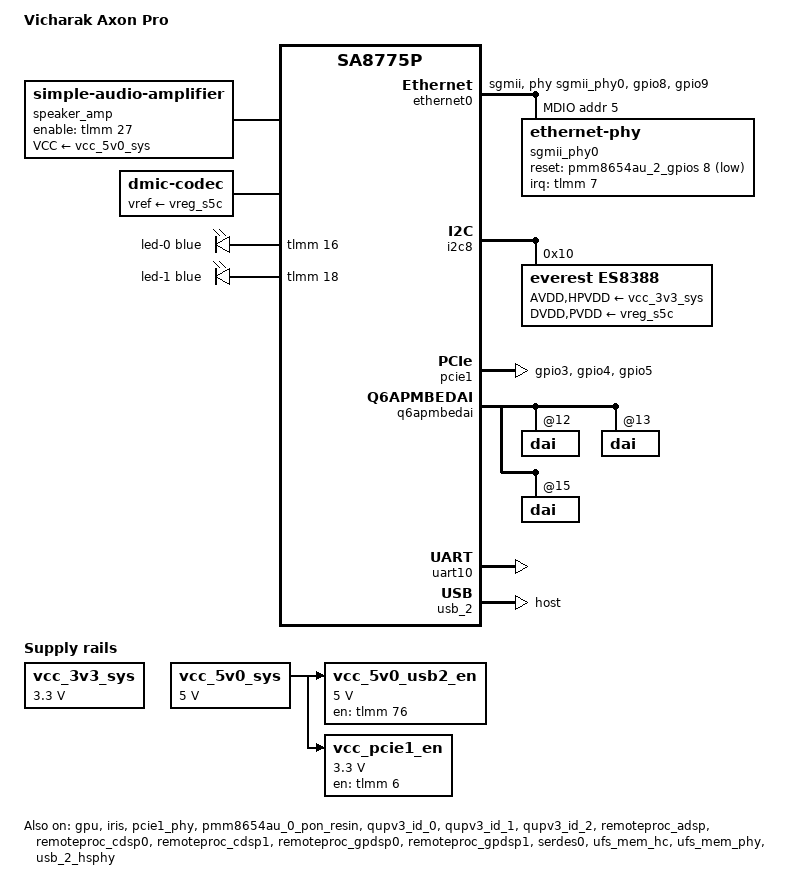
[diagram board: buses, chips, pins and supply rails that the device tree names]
// SPDX-License-Identifier: BSD-3-Clause
/*
 * Copyright (c) 2026 Vicharak Computers Pvt. Ltd.
 */

/dts-v1/;

#include <dt-bindings/gpio/gpio.h>
#include <dt-bindings/interrupt-controller/irq.h>
#include <dt-bindings/leds/common.h>
#include <dt-bindings/regulator/qcom,rpmh-regulator.h>
#include <dt-bindings/sound/qcom,q6afe.h>

#include "lemans.dtsi"
#include "lemans-pmics.dtsi"

/ {
	model = "Vicharak Axon Pro";
	compatible = "vicharak,axon-pro", "qcom,qcs9100", "qcom,sa8775p";

	aliases {
		serial0 = &uart10;
	};

	chosen {
		stdout-path = "serial0:115200n8";
	};

	speaker_amp: audio-amplifier {
		compatible = "simple-audio-amplifier";
		enable-gpios = <&tlmm 27 GPIO_ACTIVE_HIGH>;
		VCC-supply = <&vcc_5v0_sys>;
		sound-name-prefix = "Speaker Amp";
	};

	dmic: audio-codec-0 {
		compatible = "dmic-codec";
		#sound-dai-cells = <0>;
		num-channels = <2>;
		vref-supply = <&vreg_s5c>;
	};

	leds {
		compatible = "gpio-leds";

		pinctrl-0 = <&user_leds>;
		pinctrl-names = "default";

		led-0 {
			color = <LED_COLOR_ID_BLUE>;
			function = LED_FUNCTION_STATUS;
			gpios = <&tlmm 16 GPIO_ACTIVE_HIGH>;
			linux,default-trigger = "heartbeat";
			default-state = "keep";
			retain-state-suspended;
		};

		led-1 {
			color = <LED_COLOR_ID_BLUE>;
			function = LED_FUNCTION_INDICATOR;
			gpios = <&tlmm 18 GPIO_ACTIVE_HIGH>;
			default-state = "on";
			panic-indicator;
			retain-state-suspended;
		};
	};

	vcc_3v3_sys: regulator-vcc-3v3-sys {
		compatible = "regulator-fixed";
		regulator-name = "vcc_3v3_sys";
		regulator-min-microvolt = <3300000>;
		regulator-max-microvolt = <3300000>;
	};

	vcc_5v0_sys: regulator-vcc-5v-sys {
		compatible = "regulator-fixed";
		regulator-name = "vcc_5v0_sys";
		regulator-min-microvolt = <5000000>;
		regulator-max-microvolt = <5000000>;
	};

	regulator-vcc-5v0-usb2-en {
		compatible = "regulator-fixed";
		regulator-name = "vcc_5v0_usb2_en";
		regulator-min-microvolt = <5000000>;
		regulator-max-microvolt = <5000000>;

		vin-supply = <&vcc_5v0_sys>;

		gpio = <&tlmm 76 GPIO_ACTIVE_HIGH>;
		enable-active-high;

		pinctrl-0 = <&usb2_en>;
		pinctrl-names = "default";

		/* USB-A host VBUS has no software-controlled connector driver. */
		regulator-always-on;
	};

	vcc_pcie1_en: regulator-vcc-pcie1-en {
		compatible = "regulator-fixed";
		regulator-name = "vcc_pcie1_en";
		regulator-min-microvolt = <3300000>;
		regulator-max-microvolt = <3300000>;

		vin-supply = <&vcc_5v0_sys>;

		gpio = <&tlmm 6 GPIO_ACTIVE_HIGH>;
		enable-active-high;

		pinctrl-0 = <&pcie1_en>;
		pinctrl-names = "default";
	};

	sound {
		compatible = "qcom,qcs9100-sndcard";
		model = "LEMANS-AXON-PRO";
		aux-devs = <&speaker_amp>;
		audio-routing = "Speaker Amp INL", "LOUT2",
				"Speaker Amp INR", "ROUT2";

		pinctrl-0 = <&hs1_mi2s_active>, <&mi2s_mclk1_active>, <&hs2_mi2s_active>;
		pinctrl-names = "default";

		hs1-mi2s-capture-dai-link {
			link-name = "HS1 MI2S Capture";

			codec {
				sound-dai = <&es8388>;
			};

			cpu {
				sound-dai = <&q6apmbedai SECONDARY_MI2S_TX>;
			};

			platform {
				sound-dai = <&q6apm>;
			};
		};

		hs1-mi2s-playback-dai-link {
			link-name = "HS1 MI2S Playback";

			codec {
				sound-dai = <&es8388>;
			};

			cpu {
				sound-dai = <&q6apmbedai SECONDARY_MI2S_RX>;
			};

			platform {
				sound-dai = <&q6apm>;
			};
		};

		hs2-mi2s-capture-dai-link {
			link-name = "HS2 MI2S Capture";

			codec {
				sound-dai = <&dmic>;
			};

			cpu {
				sound-dai = <&q6apmbedai TERTIARY_MI2S_TX>;
			};

			platform {
				sound-dai = <&q6apm>;
			};
		};
	};
};

&apps_rsc {
	regulators-0 {
		compatible = "qcom,pmm8654au-rpmh-regulators";
		qcom,pmic-id = "a";

		vreg_l4a: ldo4 {
			regulator-name = "vreg_l4a";
			regulator-min-microvolt = <788000>;
			regulator-max-microvolt = <1050000>;
			regulator-initial-mode = <RPMH_REGULATOR_MODE_HPM>;
			regulator-allow-set-load;
			regulator-allowed-modes = <RPMH_REGULATOR_MODE_LPM
						   RPMH_REGULATOR_MODE_HPM>;
		};

		vreg_l5a: ldo5 {
			regulator-name = "vreg_l5a";
			regulator-min-microvolt = <870000>;
			regulator-max-microvolt = <950000>;
			regulator-initial-mode = <RPMH_REGULATOR_MODE_HPM>;
			regulator-allow-set-load;
			regulator-allowed-modes = <RPMH_REGULATOR_MODE_LPM
						   RPMH_REGULATOR_MODE_HPM>;
		};

		vreg_l6a: ldo6 {
			regulator-name = "vreg_l6a";
			regulator-min-microvolt = <870000>;
			regulator-max-microvolt = <970000>;
			regulator-initial-mode = <RPMH_REGULATOR_MODE_HPM>;
			regulator-allow-set-load;
			regulator-allowed-modes = <RPMH_REGULATOR_MODE_LPM
						   RPMH_REGULATOR_MODE_HPM>;
		};

		vreg_l7a: ldo7 {
			regulator-name = "vreg_l7a";
			regulator-min-microvolt = <720000>;
			regulator-max-microvolt = <950000>;
			regulator-initial-mode = <RPMH_REGULATOR_MODE_HPM>;
			regulator-allow-set-load;
			regulator-allowed-modes = <RPMH_REGULATOR_MODE_LPM
						   RPMH_REGULATOR_MODE_HPM>;
		};

		vreg_l8a: ldo8 {
			regulator-name = "vreg_l8a";
			regulator-min-microvolt = <2504000>;
			regulator-max-microvolt = <3300000>;
			regulator-initial-mode = <RPMH_REGULATOR_MODE_HPM>;
			regulator-allow-set-load;
			regulator-allowed-modes = <RPMH_REGULATOR_MODE_LPM
						   RPMH_REGULATOR_MODE_HPM>;
		};

		vreg_l9a: ldo9 {
			regulator-name = "vreg_l9a";
			regulator-min-microvolt = <2970000>;
			regulator-max-microvolt = <3544000>;
			regulator-initial-mode = <RPMH_REGULATOR_MODE_HPM>;
			regulator-allow-set-load;
			regulator-allowed-modes = <RPMH_REGULATOR_MODE_LPM
						   RPMH_REGULATOR_MODE_HPM>;
		};

		vreg_s4a: smps4 {
			regulator-name = "vreg_s4a";
			regulator-min-microvolt = <1800000>;
			regulator-max-microvolt = <1816000>;
			regulator-initial-mode = <RPMH_REGULATOR_MODE_HPM>;

			/* Powers boot/reset straps and always-active level shifters. */
			regulator-always-on;
		};

		vreg_s5a: smps5 {
			regulator-name = "vreg_s5a";
			regulator-min-microvolt = <1850000>;
			regulator-max-microvolt = <1996000>;
			regulator-initial-mode = <RPMH_REGULATOR_MODE_HPM>;
		};

		vreg_s9a: smps9 {
			regulator-name = "vreg_s9a";
			regulator-min-microvolt = <535000>;
			regulator-max-microvolt = <1120000>;
			regulator-initial-mode = <RPMH_REGULATOR_MODE_HPM>;
		};
	};

	regulators-1 {
		compatible = "qcom,pmm8654au-rpmh-regulators";
		qcom,pmic-id = "c";

		vreg_l1c: ldo1 {
			regulator-name = "vreg_l1c";
			regulator-min-microvolt = <1140000>;
			regulator-max-microvolt = <1260000>;
			regulator-initial-mode = <RPMH_REGULATOR_MODE_HPM>;
			regulator-allow-set-load;
			regulator-allowed-modes = <RPMH_REGULATOR_MODE_LPM
						   RPMH_REGULATOR_MODE_HPM>;
		};

		vreg_l2c: ldo2 {
			regulator-name = "vreg_l2c";
			regulator-min-microvolt = <900000>;
			regulator-max-microvolt = <1100000>;
			regulator-initial-mode = <RPMH_REGULATOR_MODE_HPM>;
			regulator-allow-set-load;
			regulator-allowed-modes = <RPMH_REGULATOR_MODE_LPM
						   RPMH_REGULATOR_MODE_HPM>;
		};

		vreg_l3c: ldo3 {
			regulator-name = "vreg_l3c";
			regulator-min-microvolt = <1100000>;
			regulator-max-microvolt = <1300000>;
			regulator-initial-mode = <RPMH_REGULATOR_MODE_HPM>;
			regulator-allow-set-load;
			regulator-allowed-modes = <RPMH_REGULATOR_MODE_LPM
						   RPMH_REGULATOR_MODE_HPM>;
		};

		vreg_l4c: ldo4 {
			regulator-name = "vreg_l4c";
			regulator-min-microvolt = <1200000>;
			regulator-max-microvolt = <1200000>;
			regulator-initial-mode = <RPMH_REGULATOR_MODE_HPM>;
			regulator-allow-set-load;
			regulator-allowed-modes = <RPMH_REGULATOR_MODE_LPM
						   RPMH_REGULATOR_MODE_HPM>;
		};

		vreg_l5c: ldo5 {
			regulator-name = "vreg_l5c";
			regulator-min-microvolt = <1100000>;
			regulator-max-microvolt = <1300000>;
			regulator-initial-mode = <RPMH_REGULATOR_MODE_HPM>;
			regulator-allow-set-load;
			regulator-allowed-modes = <RPMH_REGULATOR_MODE_LPM
						   RPMH_REGULATOR_MODE_HPM>;
		};

		vreg_l6c: ldo6 {
			regulator-name = "vreg_l6c";
			regulator-min-microvolt = <1620000>;
			regulator-max-microvolt = <1980000>;
			regulator-initial-mode = <RPMH_REGULATOR_MODE_HPM>;
			regulator-allow-set-load;
			regulator-allowed-modes = <RPMH_REGULATOR_MODE_LPM
						   RPMH_REGULATOR_MODE_HPM>;
		};

		vreg_l7c: ldo7 {
			regulator-name = "vreg_l7c";
			regulator-min-microvolt = <1620000>;
			regulator-max-microvolt = <2000000>;
			regulator-initial-mode = <RPMH_REGULATOR_MODE_HPM>;
			regulator-allow-set-load;
			regulator-allowed-modes = <RPMH_REGULATOR_MODE_LPM
						   RPMH_REGULATOR_MODE_HPM>;
		};

		vreg_l8c: ldo8 {
			regulator-name = "vreg_l8c";
			regulator-min-microvolt = <2400000>;
			regulator-max-microvolt = <3300000>;
			regulator-initial-mode = <RPMH_REGULATOR_MODE_HPM>;
			regulator-allow-set-load;
			regulator-allowed-modes = <RPMH_REGULATOR_MODE_LPM
						   RPMH_REGULATOR_MODE_HPM>;
		};

		vreg_l9c: ldo9 {
			regulator-name = "vreg_l9c";
			regulator-min-microvolt = <1650000>;
			regulator-max-microvolt = <2700000>;
			regulator-initial-mode = <RPMH_REGULATOR_MODE_HPM>;
			regulator-allow-set-load;
			regulator-allowed-modes = <RPMH_REGULATOR_MODE_LPM
						   RPMH_REGULATOR_MODE_HPM>;
		};

		vreg_s5c: smps5 {
			regulator-name = "vreg_s5c";
			regulator-min-microvolt = <1800000>;
			regulator-max-microvolt = <1800000>;

			/* Keep the RTL8221B powered for MDIO discovery. */
			regulator-always-on;
		};
	};

	regulators-2 {
		compatible = "qcom,pmm8654au-rpmh-regulators";
		qcom,pmic-id = "e";

		vreg_l6e: ldo6 {
			regulator-name = "vreg_l6e";
			regulator-min-microvolt = <1280000>;
			regulator-max-microvolt = <1450000>;
			regulator-initial-mode = <RPMH_REGULATOR_MODE_HPM>;
			regulator-allow-set-load;
			regulator-allowed-modes = <RPMH_REGULATOR_MODE_LPM
						   RPMH_REGULATOR_MODE_HPM>;
		};

		vreg_l8e: ldo8 {
			regulator-name = "vreg_l8e";
			regulator-min-microvolt = <1800000>;
			regulator-max-microvolt = <1950000>;
			regulator-initial-mode = <RPMH_REGULATOR_MODE_HPM>;
			regulator-allow-set-load;
			regulator-allowed-modes = <RPMH_REGULATOR_MODE_LPM
						   RPMH_REGULATOR_MODE_HPM>;
		};

		vreg_s4e: smps4 {
			regulator-name = "vreg_s4e";
			regulator-min-microvolt = <970000>;
			regulator-max-microvolt = <1520000>;
			regulator-initial-mode = <RPMH_REGULATOR_MODE_HPM>;
		};

		vreg_s7e: smps7 {
			regulator-name = "vreg_s7e";
			regulator-min-microvolt = <1010000>;
			regulator-max-microvolt = <1170000>;
			regulator-initial-mode = <RPMH_REGULATOR_MODE_HPM>;
		};

		vreg_s9e: smps9 {
			regulator-name = "vreg_s9e";
			regulator-min-microvolt = <300000>;
			regulator-max-microvolt = <570000>;
			regulator-initial-mode = <RPMH_REGULATOR_MODE_HPM>;
		};
	};

	regulators-3 {
		compatible = "qcom,pmm8654au-rpmh-regulators";
		qcom,pmic-id = "g";

		vreg_l4g: ldo4 {
			regulator-name = "vreg_l4g";
			regulator-min-microvolt = <850000>;
			regulator-max-microvolt = <950000>;
			regulator-initial-mode = <RPMH_REGULATOR_MODE_HPM>;

			/* RTL8221B DVDD09 */
			regulator-always-on;
		};
	};
};

&ethernet0 {
	phy-handle = <&sgmii_phy0>;
	phy-mode = "sgmii";

	pinctrl-0 = <&ethernet0_default>;
	pinctrl-names = "default";

	snps,mtl-rx-config = <&mtl_rx_setup>;
	snps,mtl-tx-config = <&mtl_tx_setup>;
	snps,ps-speed = <1000>;

	status = "okay";

	mdio {
		compatible = "snps,dwmac-mdio";
		#address-cells = <1>;
		#size-cells = <0>;

		sgmii_phy0: ethernet-phy@5 {
			reg = <5>;
			interrupts-extended = <&tlmm 7 IRQ_TYPE_EDGE_FALLING>;
			reset-gpios = <&pmm8654au_2_gpios 8 GPIO_ACTIVE_LOW>;
			reset-assert-us = <11000>;
			reset-deassert-us = <70000>;
		};
	};

	mtl_rx_setup: rx-queues-config {
		snps,rx-queues-to-use = <4>;
		snps,rx-sched-sp;

		queue0 {
			snps,dcb-algorithm;
			snps,map-to-dma-channel = <0>;
			snps,route-up;
			snps,priority = <1>;
		};

		queue1 {
			snps,dcb-algorithm;
			snps,map-to-dma-channel = <1>;
			snps,route-ptp;
		};

		queue2 {
			snps,avb-algorithm;
			snps,map-to-dma-channel = <2>;
			snps,route-avcp;
		};

		queue3 {
			snps,avb-algorithm;
			snps,map-to-dma-channel = <3>;
			snps,priority = <12>;
		};
	};

	mtl_tx_setup: tx-queues-config {
		snps,tx-queues-to-use = <4>;

		queue0 {
			snps,dcb-algorithm;
		};

		queue1 {
			snps,dcb-algorithm;
		};

		queue2 {
			snps,avb-algorithm;
			snps,send_slope = <0x1000>;
			snps,idle_slope = <0x1000>;
			snps,high_credit = <0x3e800>;
			snps,low_credit = <0xffc18000>;
		};

		queue3 {
			snps,avb-algorithm;
			snps,send_slope = <0x1000>;
			snps,idle_slope = <0x1000>;
			snps,high_credit = <0x3e800>;
			snps,low_credit = <0xffc18000>;
		};
	};
};

&gpi_dma0 {
	status = "okay";
};

&gpi_dma1 {
	status = "okay";
};

&gpi_dma2 {
	status = "okay";
};

&gpu {
	status = "okay";
};

&gpu_zap_shader {
	firmware-name = "qcom/sa8775p/a663_zap.mbn";
};

&i2c8 {
	status = "okay";

	es8388: audio-codec@10 {
		compatible = "everest,es8388", "everest,es8328";
		reg = <0x10>;

		#sound-dai-cells = <0>;
		AVDD-supply = <&vcc_3v3_sys>;
		DVDD-supply = <&vreg_s5c>;
		HPVDD-supply = <&vcc_3v3_sys>;
		PVDD-supply = <&vreg_s5c>;

		clocks = <&q6prmcc
			  LPASS_CLK_ID_MCLK_2
			  LPASS_CLK_ATTRIBUTE_COUPLE_NO>;

		assigned-clocks = <&q6prmcc
				   LPASS_CLK_ID_MCLK_2
				   LPASS_CLK_ATTRIBUTE_COUPLE_NO>;

		assigned-clock-rates = <12288000>;
	};
};

&iris {
	firmware-name = "qcom/vpu/vpu30_p4_s6.mbn";

	status = "okay";
};

&pcie1 {
	perst-gpios = <&tlmm 4 GPIO_ACTIVE_LOW>;
	wake-gpios = <&tlmm 5 GPIO_ACTIVE_HIGH>;
	vddpe-3v3-supply = <&vcc_pcie1_en>;

	pinctrl-0 = <&pcie1_default_state>;
	pinctrl-names = "default";

	status = "okay";
};

&pcie1_phy {
	vdda-phy-supply = <&vreg_l5a>;
	vdda-pll-supply = <&vreg_l1c>;

	status = "okay";
};

&pmm8654au_0_gpios {
	gpio-line-names = "DS_EN",
			  "POFF_COMPLETE",
			  "UFS0_VER_ID",
			  "FAST_POFF",
			  "DBU1_PON_DONE",
			  "AOSS_SLEEP",
			  "CAM_DES0_EN",
			  "CAM_DES1_EN",
			  "CAM_DES2_EN",
			  "CAM_DES3_EN",
			  "UEFI",
			  "ANALOG_PON_OPT";
};

&pmm8654au_0_pon_resin {
	linux,code = <KEY_VOLUMEDOWN>;

	status = "okay";
};

&pmm8654au_1_gpios {
	gpio-line-names = "PMIC_C_ID0",
			  "PMIC_C_ID1",
			  "UFS1_VER_ID",
			  "IPA_PWR",
			  "",
			  "WLAN_DBU4_EN",
			  "WLAN_EN",
			  "BT_EN",
			  "USB2_PWR_EN",
			  "USB2_FAULT";
};

&pmm8654au_2_gpios {
	gpio-line-names = "PMIC_E_ID0",
			  "PMIC_E_ID1",
			  "",
			  "",
			  "",
			  "",
			  "",
			  "SGMII0_RST",
			  "SGMII1_RST",
			  "",
			  "",
			  "VMON_SPX8";
};

&q6apmbedai {
	#address-cells = <1>;
	#size-cells = <0>;

	dai@12 {
		reg = <SECONDARY_MI2S_RX>;

		clocks = <&q6prmcc LPASS_CLK_ID_SEC_MI2S_IBIT
			  LPASS_CLK_ATTRIBUTE_COUPLE_NO>,
			 <&q6prmcc LPASS_CLK_ID_MCLK_2
			  LPASS_CLK_ATTRIBUTE_COUPLE_NO>;

		clock-names = "bclk", "mclk";
	};

	dai@13 {
		reg = <SECONDARY_MI2S_TX>;

		clocks = <&q6prmcc LPASS_CLK_ID_SEC_MI2S_IBIT
			  LPASS_CLK_ATTRIBUTE_COUPLE_NO>,
			 <&q6prmcc LPASS_CLK_ID_MCLK_2
			  LPASS_CLK_ATTRIBUTE_COUPLE_NO>;

		clock-names = "bclk", "mclk";
	};

	dai@15 {
		reg = <TERTIARY_MI2S_TX>;

		clocks = <&q6prmcc LPASS_CLK_ID_TER_MI2S_IBIT
			  LPASS_CLK_ATTRIBUTE_COUPLE_NO>;

		clock-names = "bclk";
	};
};

&qupv3_id_0 {
	firmware-name = "qcom/sa8775p/qupv3fw.elf";

	status = "okay";
};

&qupv3_id_1 {
	firmware-name = "qcom/sa8775p/qupv3fw.elf";

	status = "okay";
};

&qupv3_id_2 {
	firmware-name = "qcom/sa8775p/qupv3fw.elf";

	status = "okay";
};

&remoteproc_adsp {
	firmware-name = "qcom/sa8775p/adsp.mbn";

	status = "okay";
};

&remoteproc_cdsp0 {
	firmware-name = "qcom/sa8775p/cdsp0.mbn";

	status = "okay";
};

&remoteproc_cdsp1 {
	firmware-name = "qcom/sa8775p/cdsp1.mbn";

	status = "okay";
};

&remoteproc_gpdsp0 {
	firmware-name = "qcom/sa8775p/gpdsp0.mbn";

	status = "okay";
};

&remoteproc_gpdsp1 {
	firmware-name = "qcom/sa8775p/gpdsp1.mbn";

	status = "okay";
};

&serdes0 {
	vdda-0p9-supply = <&vreg_l4a>;
	vdda-1p2-supply = <&vreg_l1c>;

	status = "okay";
};

&sleep_clk {
	clock-frequency = <32768>;
};

&tlmm {
	ethernet0_default: ethernet0-default-state {
		mdc-pins {
			pins = "gpio8";
			function = "emac0_mdc";
			drive-strength = <16>;
			bias-pull-up;
		};

		mdio-pins {
			pins = "gpio9";
			function = "emac0_mdio";
			drive-strength = <16>;
			bias-pull-up;
		};
	};

	hs1_mi2s_active: hs1-mi2s-active-state {
		pins = "gpio118", "gpio119", "gpio120", "gpio121";
		function = "hs1_mi2s";
		drive-strength = <8>;
		bias-disable;
	};

	mi2s_mclk1_active: mi2s-mclk1-active-state {
		pins = "gpio117";
		function = "mi2s_mclk1";
		drive-strength = <8>;
		bias-disable;
	};

	pcie1_default_state: pcie1-default-state {
		clkreq-pins {
			pins = "gpio3";
			function = "pcie1_clkreq";
			drive-strength = <2>;
			bias-pull-up;
		};

		perst-pins {
			pins = "gpio4";
			function = "gpio";
			drive-strength = <2>;
			bias-pull-up;
		};

		wake-pins {
			pins = "gpio5";
			function = "gpio";
			drive-strength = <2>;
			bias-pull-up;
		};
	};

	pcie1_en: pcie1-en-state {
		pins = "gpio6";
		function = "gpio";
		drive-strength = <2>;
		bias-disable;
	};

	usb2_en: usb2-en-state {
		pins = "gpio76";
		function = "gpio";
		drive-strength = <2>;
		bias-disable;
	};

	user_leds: user-led-state {
		pins = "gpio16", "gpio18";
		function = "gpio";
		drive-strength = <2>;
		bias-disable;
	};
};

&uart10 {
	compatible = "qcom,geni-debug-uart";
	pinctrl-0 = <&qup_uart10_default>;
	pinctrl-names = "default";

	status = "okay";
};

&ufs_mem_hc {
	reset-gpios = <&tlmm 149 GPIO_ACTIVE_LOW>;
	vcc-supply = <&vreg_l8a>;
	vcc-max-microamp = <1100000>;
	vccq-supply = <&vreg_l4c>;
	vccq-max-microamp = <1200000>;

	status = "okay";
};

&ufs_mem_phy {
	vdda-phy-supply = <&vreg_l4a>;
	vdda-pll-supply = <&vreg_l1c>;

	status = "okay";
};

&usb_2 {
	/* Routed to an onboard USB hub for two USB-A host ports. */
	dr_mode = "host";

	status = "okay";
};

&usb_2_hsphy {
	vdda-pll-supply = <&vreg_l7a>;
	vdda18-supply = <&vreg_l6c>;
	vdda33-supply = <&vreg_l9a>;

	status = "okay";
};

&xo_board_clk {
	clock-frequency = <38400000>;
};
